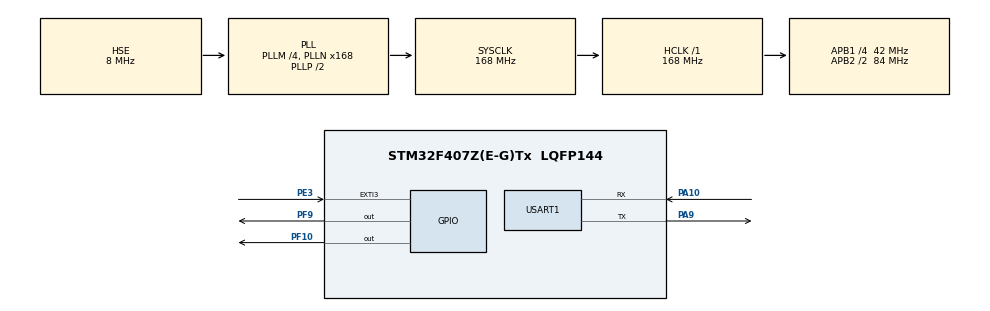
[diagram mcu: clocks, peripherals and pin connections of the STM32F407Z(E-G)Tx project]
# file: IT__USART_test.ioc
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Mcu.Family=STM32F4
Mcu.Name=STM32F407Z(E-G)Tx
Mcu.Package=LQFP144
NVIC.EXTI3_IRQn=true\:0\:0\:false\:false\:true\:true\:true\:true
NVIC.PriorityGroup=NVIC_PRIORITYGROUP_4
NVIC.USART1_IRQn=true\:0\:0\:false\:false\:true\:true\:true\:true
PA10.Mode=Asynchronous
PA10.Signal=USART1_RX
PA13.Mode=Serial_Wire
PA13.Signal=SYS_JTMS-SWDIO
PA14.Mode=Serial_Wire
PA14.Signal=SYS_JTCK-SWCLK
PA9.Mode=Asynchronous
PA9.Signal=USART1_TX
PE3.GPIO_ModeDefaultEXTI=GPIO_MODE_IT_FALLING
PE3.GPIO_PuPd=GPIO_PULLUP
PE3.Signal=GPXTI3
PF10.PinState=GPIO_PIN_RESET
PF10.Signal=GPIO_Output
PF9.PinState=GPIO_PIN_SET
PF9.Signal=GPIO_Output
PH0-OSC_IN.Mode=HSE-External-Oscillator
PH0-OSC_IN.Signal=RCC_OSC_IN
PH1-OSC_OUT.Mode=HSE-External-Oscillator
PH1-OSC_OUT.Signal=RCC_OSC_OUT
ProjectManager.HeapSize=0x200
ProjectManager.StackSize=0x400
ProjectManager.TargetToolchain=MDK-ARM V5.32
RCC.48MHZClocksFreq_Value=84000000
RCC.AHBFreq_Value=168000000
RCC.APB1CLKDivider=RCC_HCLK_DIV4
RCC.APB1Freq_Value=42000000
RCC.APB1TimFreq_Value=84000000
RCC.APB2CLKDivider=RCC_HCLK_DIV2
RCC.APB2Freq_Value=84000000
RCC.APB2TimFreq_Value=168000000
RCC.CortexFreq_Value=168000000
RCC.HCLKFreq_Value=168000000
RCC.HSE_VALUE=8000000
RCC.HSI_VALUE=16000000
RCC.LSE_VALUE=32768
RCC.PLLM=4
RCC.PLLN=168
RCC.PLLSourceVirtual=RCC_PLLSOURCE_HSE
RCC.SYSCLKFreq_VALUE=168000000
RCC.SYSCLKSource=RCC_SYSCLKSOURCE_PLLCLK
RCC.VCOOutputFreq_Value=336000000
USART1.Parity=PARITY_ODD
USART1.VirtualMode=VM_ASYNC
USART1.WordLength=WORDLENGTH_9B
board=custom

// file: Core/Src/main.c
/* USER CODE BEGIN Header */
/**
 ******************************************************************************
 * @file           : main.c
 * @brief          : Main program body
 ******************************************************************************
 * @attention
 *
 * Copyright (c) 2026 STMicroelectronics.
 * All rights reserved.
 *
 * This software is licensed under terms that can be found in the LICENSE file
 * in the root directory of this software component.
 * If no LICENSE file comes with this software, it is provided AS-IS.
 *
 ******************************************************************************
 */
/* USER CODE END Header */
#include "main.h"

/* USER CODE BEGIN Includes */
#include <stdio.h>
#include<string.h>
#include "BSP_Led.h"
/* USER CODE END Includes */

UART_HandleTypeDef huart1;

void SystemClock_Config(void);
static void MX_GPIO_Init(void);
static void MX_USART1_UART_Init(void);

/* USER CODE BEGIN 0 */
uint8_t buffer[32];
uint8_t error_message[] = {"接收错误"};
uint8_t success_message[] = {"接收成功:"};
/* USER CODE END 0 */

int main(void)
{

  /* MCU Configuration--------------------------------------------------------*/

  /* Reset of all peripherals, Initializes the Flash interface and the Systick. */
  HAL_Init();

  /* Configure the system clock */
  SystemClock_Config();

  /* Initialize all configured peripherals */
  MX_GPIO_Init();
  MX_USART1_UART_Init();

  /* Infinite loop */
  /* USER CODE BEGIN WHILE */
  HAL_UART_Receive_IT(&huart1, buffer, 1);
  while (1)
  {
    BSP_Led_Blink(LED1, 1, 500);
    /* USER CODE END WHILE */

  }
}

void SystemClock_Config(void)
{
  RCC_OscInitTypeDef RCC_OscInitStruct = {0};
  RCC_ClkInitTypeDef RCC_ClkInitStruct = {0};

  /** Configure the main internal regulator output voltage
  */
  __HAL_RCC_PWR_CLK_ENABLE();
  __HAL_PWR_VOLTAGESCALING_CONFIG(PWR_REGULATOR_VOLTAGE_SCALE1);

  /** Initializes the RCC Oscillators according to the specified parameters
  * in the RCC_OscInitTypeDef structure.
  */
  RCC_OscInitStruct.OscillatorType = RCC_OSCILLATORTYPE_HSE;
  RCC_OscInitStruct.HSEState = RCC_HSE_ON;
  RCC_OscInitStruct.PLL.PLLState = RCC_PLL_ON;
  RCC_OscInitStruct.PLL.PLLSource = RCC_PLLSOURCE_HSE;
  RCC_OscInitStruct.PLL.PLLM = 4;
  RCC_OscInitStruct.PLL.PLLN = 168;
  RCC_OscInitStruct.PLL.PLLP = RCC_PLLP_DIV2;
  RCC_OscInitStruct.PLL.PLLQ = 4;
  if (HAL_RCC_OscConfig(&RCC_OscInitStruct) != HAL_OK)
  {
    Error_Handler();
  }

  /** Initializes the CPU, AHB and APB buses clocks
  */
  RCC_ClkInitStruct.ClockType = RCC_CLOCKTYPE_HCLK|RCC_CLOCKTYPE_SYSCLK
                              |RCC_CLOCKTYPE_PCLK1|RCC_CLOCKTYPE_PCLK2;
  RCC_ClkInitStruct.SYSCLKSource = RCC_SYSCLKSOURCE_PLLCLK;
  RCC_ClkInitStruct.AHBCLKDivider = RCC_SYSCLK_DIV1;
  RCC_ClkInitStruct.APB1CLKDivider = RCC_HCLK_DIV4;
  RCC_ClkInitStruct.APB2CLKDivider = RCC_HCLK_DIV2;

  if (HAL_RCC_ClockConfig(&RCC_ClkInitStruct, FLASH_LATENCY_5) != HAL_OK)
  {
    Error_Handler();
  }
}

static void MX_USART1_UART_Init(void)
{

  huart1.Instance = USART1;
  huart1.Init.BaudRate = 115200;
  huart1.Init.WordLength = UART_WORDLENGTH_9B;
  huart1.Init.StopBits = UART_STOPBITS_1;
  huart1.Init.Parity = UART_PARITY_ODD;
  huart1.Init.Mode = UART_MODE_TX_RX;
  huart1.Init.HwFlowCtl = UART_HWCONTROL_NONE;
  huart1.Init.OverSampling = UART_OVERSAMPLING_16;
  if (HAL_UART_Init(&huart1) != HAL_OK)
  {
    Error_Handler();
  }

}

static void MX_GPIO_Init(void)
{
  GPIO_InitTypeDef GPIO_InitStruct = {0};

  /* GPIO Ports Clock Enable */
  __HAL_RCC_GPIOE_CLK_ENABLE();
  __HAL_RCC_GPIOF_CLK_ENABLE();
  __HAL_RCC_GPIOH_CLK_ENABLE();
  __HAL_RCC_GPIOA_CLK_ENABLE();

  /*Configure GPIO pin Output Level */
  HAL_GPIO_WritePin(GPIOF, GPIO_PIN_9, GPIO_PIN_SET);

  /*Configure GPIO pin Output Level */
  HAL_GPIO_WritePin(GPIOF, GPIO_PIN_10, GPIO_PIN_RESET);

  /*Configure GPIO pin : PE3 */
  GPIO_InitStruct.Pin = GPIO_PIN_3;
  GPIO_InitStruct.Mode = GPIO_MODE_IT_FALLING;
  GPIO_InitStruct.Pull = GPIO_PULLUP;
  HAL_GPIO_Init(GPIOE, &GPIO_InitStruct);

  /*Configure GPIO pins : PF9 PF10 */
  GPIO_InitStruct.Pin = GPIO_PIN_9|GPIO_PIN_10;
  GPIO_InitStruct.Mode = GPIO_MODE_OUTPUT_PP;
  GPIO_InitStruct.Pull = GPIO_NOPULL;
  GPIO_InitStruct.Speed = GPIO_SPEED_FREQ_LOW;
  HAL_GPIO_Init(GPIOF, &GPIO_InitStruct);

  /* EXTI interrupt init*/
  HAL_NVIC_SetPriority(EXTI3_IRQn, 0, 0);
  HAL_NVIC_EnableIRQ(EXTI3_IRQn);

}

/* USER CODE BEGIN 4 */

int cnt = 0;
void HAL_UART_RxCpltCallback(UART_HandleTypeDef *huart)
{
  /* Prevent unused argument(s) compilation warning */
  UNUSED(huart);
  if ( buffer[cnt] == '\n')
  {
    buffer[cnt] = '\0';
    uint8_t tx[sizeof(success_message) + sizeof(buffer)];
    size_t msg_len = sizeof(success_message) - 1; // 不发送字符串末尾的 '\0'

    memcpy(tx, success_message, msg_len);
    size_t data_len = strlen((char *)buffer);
    memcpy(tx + msg_len, buffer, data_len);

    HAL_UART_Transmit_IT(&huart1, tx, msg_len + data_len);
    HAL_UART_Receive_IT(&huart1, buffer, 1);
    cnt = 0;
    return;
  }
  if (cnt == 31)
  {
    buffer[cnt] = '\0';
    uint8_t tx[sizeof(success_message) + sizeof(buffer)];
    size_t msg_len = sizeof(success_message) - 1; // 不发送字符串末尾的 '\0'

    memcpy(tx, success_message, msg_len);
    size_t data_len = strlen((char *)buffer);
    memcpy(tx + msg_len, buffer, data_len);

    HAL_UART_Transmit_IT(&huart1, tx, msg_len + data_len);
    HAL_UART_Receive_IT(&huart1, buffer, 1);
    cnt = 0;
    return;
  }
  cnt++;
  HAL_UART_Receive_IT(&huart1, (buffer + cnt), 1);

  /* NOTE: This function should not be modified, when the callback is needed,
           the HAL_UART_RxCpltCallback could be implemented in the user file
   */
}

void HAL_UART_TxCpltCallback(UART_HandleTypeDef *huart)
{
  /* Prevent unused argument(s) compilation warning */
  UNUSED(huart);
  HAL_GPIO_TogglePin(GPIOF, GPIO_PIN_9);
  HAL_GPIO_TogglePin(GPIOF, GPIO_PIN_10);
  /* NOTE: This function should not be modified, when the callback is needed,
           the HAL_UART_TxCpltCallback could be implemented in the user file
   */
}

void HAL_GPIO_EXTI_Callback(uint16_t GPIO_Pin)
{
  /* Prevent unused argument(s) compilation warning */
  if(GPIO_Pin == GPIO_PIN_3)
  {
      BSP_Led_Toggle(LED2);
  }
  /* NOTE: This function Should not be modified, when the callback is needed,
           the HAL_GPIO_EXTI_Callback could be implemented in the user file
   */
}

/* USER CODE END 4 */

void Error_Handler(void)
{
  __disable_irq();
  while (1)
  {
  }
}
